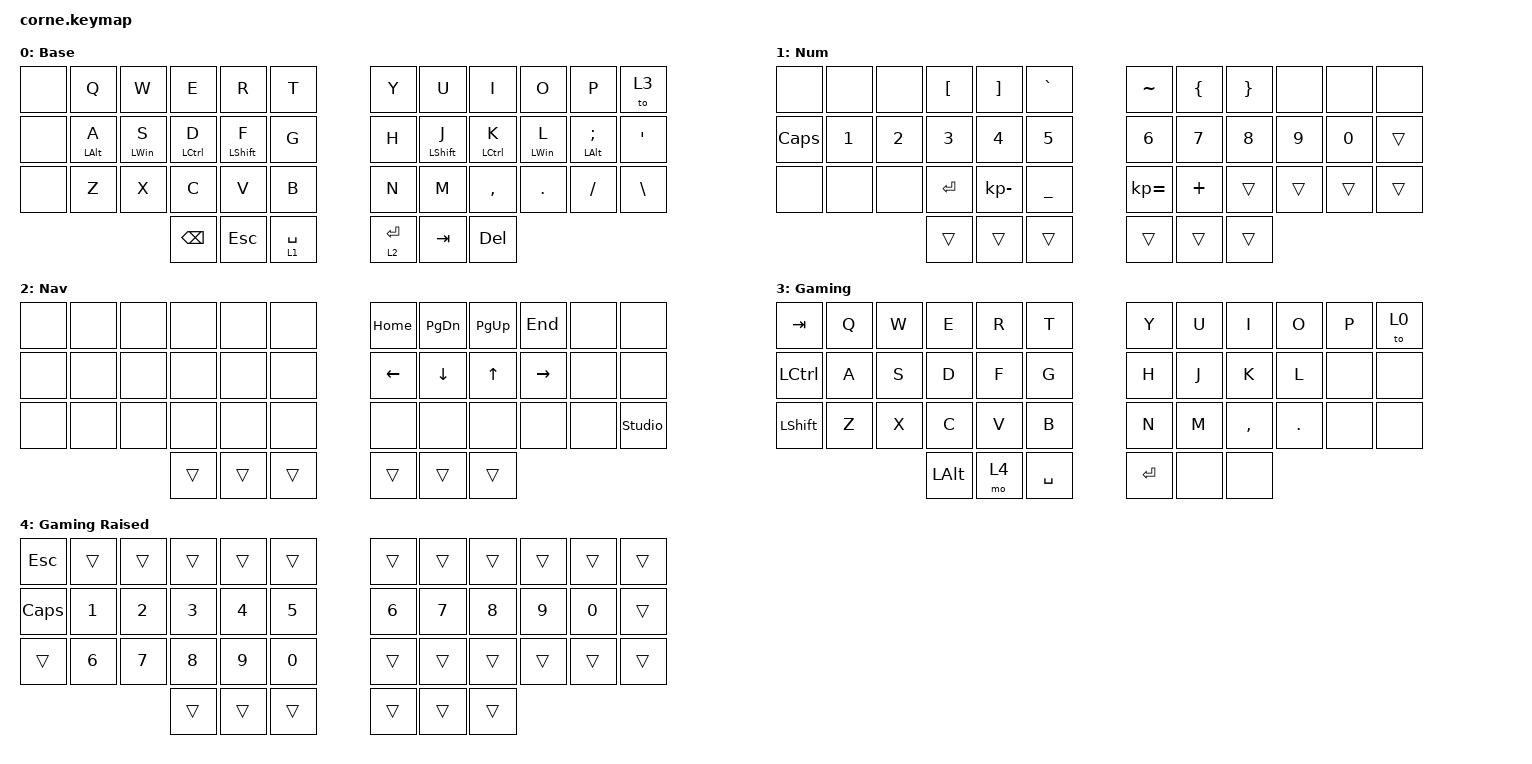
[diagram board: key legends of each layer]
/*
 * Copyright (c) 2020 The ZMK Contributors
 *
 * SPDX-License-Identifier: MIT
 */

#include <behaviors.dtsi>
#include <dt-bindings/zmk/keys.h>

/ {
    combos { compatible = "zmk,combos"; };

    behaviors {
        key_or_layer: key_or_layer {
            compatible = "zmk,behavior-hold-tap";
            label = "KEY_OR_LAYER";
            bindings = <&mo>, <&kp>;

            #binding-cells = <2>;
            tapping-term-ms = <280>;
            flavor = "balanced";
            hold-trigger-key-positions = <38 39>;
            quick-tap-ms = <175>;
            require-prior-idle-ms = <150>;
            hold-trigger-on-release;
        };

        hrm_right: hrm_right {
            compatible = "zmk,behavior-hold-tap";
            label = "HRM_RIGHT";
            bindings = <&kp>, <&kp>;

            #binding-cells = <2>;
            tapping-term-ms = <250>;
            hold-trigger-key-positions = <19 20 21 22>;
            flavor = "balanced";
            quick-tap-ms = <75>;
            hold-trigger-on-release;
        };

        hrm_left: hrm_left {
            compatible = "zmk,behavior-hold-tap";
            label = "HRM_LEFT";
            bindings = <&kp>, <&kp>;

            #binding-cells = <2>;
            tapping-term-ms = <250>;
            hold-trigger-key-positions = <16 14 15 13>;
            flavor = "balanced";
            quick-tap-ms = <75>;
            hold-trigger-on-release;
        };
    };

    keymap {
        compatible = "zmk,keymap";

        base {
            display-name = "Base";
            bindings = <
&none  &kp Q                 &kp W                 &kp E              &kp R                   &kp T                    &kp Y                  &kp U                    &kp I               &kp O                  &kp P                     &to 3
&none  &hrm_left LEFT_ALT A  &hrm_left LEFT_WIN S  &hrm_left LCTRL D  &hrm_left LEFT_SHIFT F  &kp G                    &kp H                  &hrm_right LEFT_SHIFT J  &hrm_right LCTRL K  &hrm_right LEFT_WIN L  &hrm_right LEFT_ALT SEMI  &kp SINGLE_QUOTE
&none  &kp Z                 &kp X                 &kp C              &kp V                   &kp B                    &kp N                  &kp M                    &kp COMMA           &kp DOT                &kp FSLH                  &kp BACKSLASH
                                                   &kp BACKSPACE      &kp ESCAPE              &key_or_layer 1 SPACE    &key_or_layer 2 ENTER  &kp TAB                  &kp DELETE
            >;
        };

        num {
            display-name = "Num";
            bindings = <
&none         &none         &none         &kp LEFT_BRACKET  &kp RIGHT_BRACKET  &kp GRAVE       &kp TILDE     &kp LEFT_BRACE  &kp RIGHT_BRACE  &none   &none   &none
&kp CAPSLOCK  &kp NUMBER_1  &kp NUMBER_2  &kp NUMBER_3      &kp NUMBER_4       &kp NUMBER_5    &kp N6        &kp N7          &kp N8           &kp N9  &kp N0  &trans
&none         &none         &none         &kp ENTER         &kp KP_MINUS       &kp UNDER       &kp KP_EQUAL  &kp PLUS        &trans           &trans  &trans  &trans
                                          &trans            &trans             &trans          &trans        &trans          &trans
            >;
        };

        nav {
            display-name = "Nav";
            bindings = <
&none  &none  &none  &none   &none   &none     &kp HOME  &kp PAGE_DOWN  &kp PG_UP  &kp END    &none  &none
&none  &none  &none  &none   &none   &none     &kp LEFT  &kp DOWN       &kp UP     &kp RIGHT  &none  &none
&none  &none  &none  &none   &none   &none     &none     &none          &none      &none      &none  &studio_unlock
                     &trans  &trans  &trans    &trans    &trans         &trans
            >;
        };

        gaming_base {
            display-name = "Gaming";
            bindings = <
&kp TAB         &kp Q  &kp W  &kp E         &kp R  &kp T        &kp Y      &kp U  &kp I      &kp O    &kp P  &to 0
&kp LCTRL       &kp A  &kp S  &kp D         &kp F  &kp G        &kp H      &kp J  &kp K      &kp L    &none  &none
&kp LEFT_SHIFT  &kp Z  &kp X  &kp C         &kp V  &kp B        &kp N      &kp M  &kp COMMA  &kp DOT  &none  &none
                              &kp LEFT_ALT  &mo 4  &kp SPACE    &kp ENTER  &none  &none
            >;
        };

        gaming_raised {
            display-name = "Gaming Raised";
            bindings = <
&kp ESC   &trans        &trans  &trans  &trans  &trans    &trans        &trans  &trans  &trans  &trans  &trans
&kp CAPS  &kp N1        &kp N2  &kp N3  &kp N4  &kp N5    &kp NUMBER_6  &kp N7  &kp N8  &kp N9  &kp N0  &trans
&trans    &kp NUMBER_6  &kp N7  &kp N8  &kp N9  &kp N0    &trans        &trans  &trans  &trans  &trans  &trans
                                &trans  &trans  &trans    &trans        &trans  &trans
            >;
        };
    };
};
